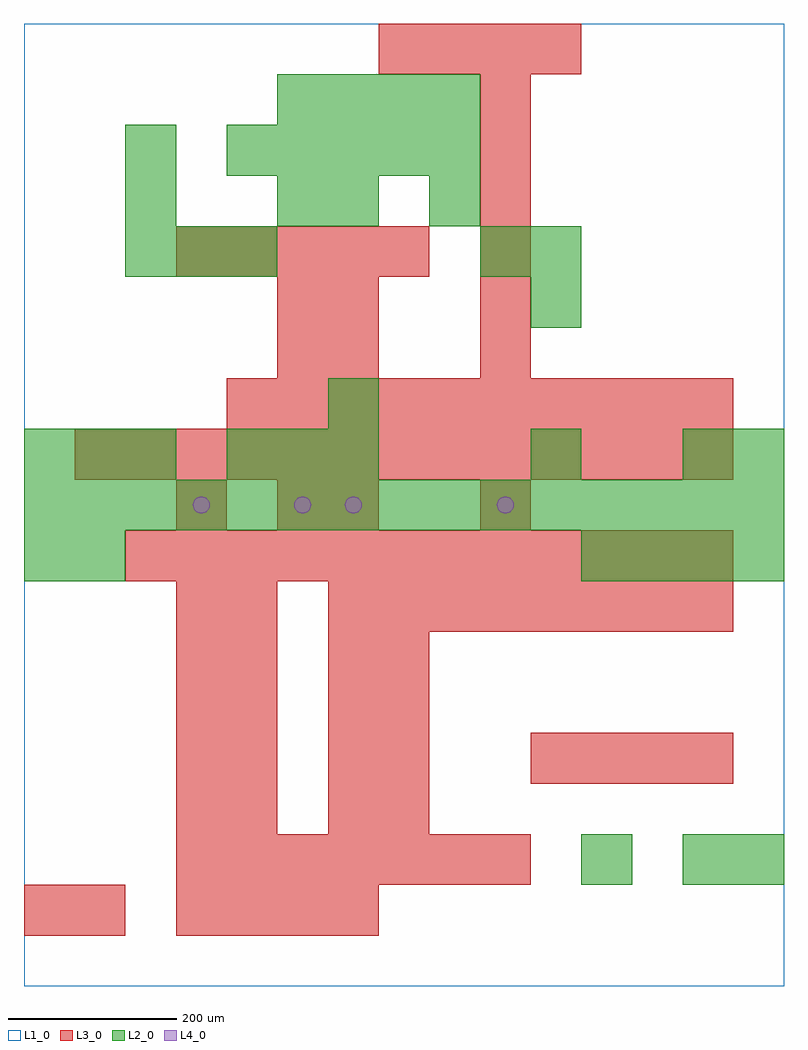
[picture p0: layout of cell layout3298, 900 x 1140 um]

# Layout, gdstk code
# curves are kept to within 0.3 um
import gdstk
lib = gdstk.Library(unit=1e-6, precision=1e-09)
def R(c, l, rs):  # rectangles x0, y0, x1, y1
    for r in rs: c.add(gdstk.rectangle(r[:2], r[2:], *l))
def A(c, l, x, y, w, h, nx, ny, dx, dy):  # array of equal rectangles
    R(c, l, [(x+i*dx, y+j*dy, x+i*dx+w, y+j*dy+h) for i in range(nx) for j in range(ny)])
def P(c, l, *ps):  # polygons
    for p in ps: c.add(gdstk.Polygon(p, *l))
L1_0 = (1, 0)
L2_0 = (2, 0)
L3_0 = (3, 0)
L4_0 = (4, 0)

layout3298 = lib.new_cell('layout3298')
R(layout3298, L1_0, [(0,0,900,1140)])
A(layout3298, L2_0, 660, 480, 60, 60, 4, 1, 60, 0)
A(layout3298, L2_0, 0, 540, 60, 60, 15, 1, 60, 0)
A(layout3298, L2_0, 0, 600, 60, 60, 3, 1, 60, 0)
A(layout3298, L2_0, 240, 600, 60, 60, 3, 1, 60, 0)
A(layout3298, L2_0, 120, 840, 60, 60, 3, 1, 60, 0)
A(layout3298, L2_0, 240, 960, 60, 60, 5, 1, 60, 0)
A(layout3298, L2_0, 300, 1020, 60, 60, 4, 1, 60, 0)
R(layout3298, L2_0, [(660,120,720,180), (780,120,840,180), (840,120,900,180), (0,480,60,540), (60,480,120,540), (600,600,660,660), (780,600,840,660), (840,600,900,660), (360,660,420,720), (600,780,660,840), (540,840,600,900), (600,840,660,900), (120,900,180,960), (300,900,360,960), (360,900,420,960), (480,900,540,960), (120,960,180,1020)])
A(layout3298, L3_0, 180, 60, 60, 60, 4, 1, 60, 0)
A(layout3298, L3_0, 180, 120, 60, 60, 7, 1, 60, 0)
A(layout3298, L3_0, 180, 180, 60, 60, 1, 5, 0, 60)
A(layout3298, L3_0, 240, 180, 60, 60, 1, 5, 0, 60)
A(layout3298, L3_0, 360, 180, 60, 60, 1, 4, 0, 60)
A(layout3298, L3_0, 420, 180, 60, 60, 1, 4, 0, 60)
A(layout3298, L3_0, 600, 240, 60, 60, 4, 1, 60, 0)
A(layout3298, L3_0, 360, 420, 60, 60, 8, 1, 60, 0)
A(layout3298, L3_0, 120, 480, 60, 60, 12, 1, 60, 0)
A(layout3298, L3_0, 60, 600, 60, 60, 13, 1, 60, 0)
A(layout3298, L3_0, 240, 660, 60, 60, 10, 1, 60, 0)
A(layout3298, L3_0, 540, 720, 60, 60, 1, 6, 0, 60)
A(layout3298, L3_0, 180, 840, 60, 60, 5, 1, 60, 0)
A(layout3298, L3_0, 420, 1080, 60, 60, 4, 1, 60, 0)
R(layout3298, L3_0, [(0,60,60,120), (60,60,120,120), (180,540,240,600), (300,540,360,600), (360,540,420,600), (540,540,600,600), (300,720,360,780), (360,720,420,780), (300,780,360,840), (360,780,420,840)])
P(layout3298, L4_0, [(220,570),(219.239,573.827),(217.071,577.071),(213.827,579.239),(210,580),(206.173,579.239),(202.929,577.071),(200.761,573.827),(200,570),(200.761,566.173),(202.929,562.929),(206.173,560.761),(210,560),(213.827,560.761),(217.071,562.929),(219.239,566.173)],
  [(340,570),(339.239,573.827),(337.071,577.071),(333.827,579.239),(330,580),(326.173,579.239),(322.929,577.071),(320.761,573.827),(320,570),(320.761,566.173),(322.929,562.929),(326.173,560.761),(330,560),(333.827,560.761),(337.071,562.929),(339.239,566.173)],
  [(400,570),(399.239,573.827),(397.071,577.071),(393.827,579.239),(390,580),(386.173,579.239),(382.929,577.071),(380.761,573.827),(380,570),(380.761,566.173),(382.929,562.929),(386.173,560.761),(390,560),(393.827,560.761),(397.071,562.929),(399.239,566.173)],
  [(580,570),(579.239,573.827),(577.071,577.071),(573.827,579.239),(570,580),(566.173,579.239),(562.929,577.071),(560.761,573.827),(560,570),(560.761,566.173),(562.929,562.929),(566.173,560.761),(570,560),(573.827,560.761),(577.071,562.929),(579.239,566.173)])

lib.write_gds('layout3298.gds')
